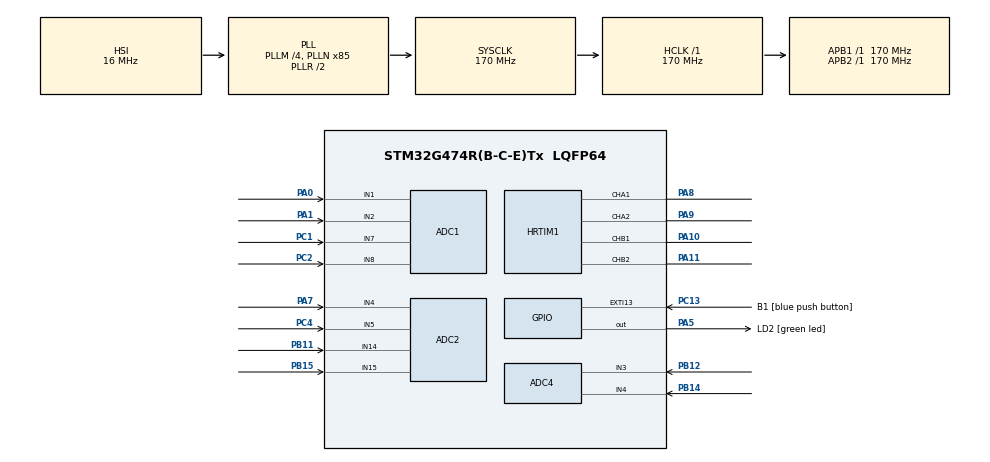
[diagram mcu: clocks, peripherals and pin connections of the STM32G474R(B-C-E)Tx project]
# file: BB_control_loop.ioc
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ADC1.Channel-0\#ChannelRegularConversion=ADC_CHANNEL_1
ADC1.Channel-1\#ChannelRegularConversion=ADC_CHANNEL_7
ADC1.ContinuousConvMode=DISABLE
ADC1.DMAContinuousRequests=ENABLE
ADC1.ExternalTrigConv=ADC_EXTERNALTRIG_HRTIM_TRG1
ADC1.NbrOfConversion=2
ADC1.NbrOfConversionFlag=1
ADC1.OffsetNumber-0\#ChannelRegularConversion=ADC_OFFSET_NONE
ADC1.OffsetNumber-1\#ChannelRegularConversion=ADC_OFFSET_NONE
ADC1.Rank-0\#ChannelRegularConversion=1
ADC1.Rank-1\#ChannelRegularConversion=2
ADC1.SamplingTime-0\#ChannelRegularConversion=ADC_SAMPLETIME_2CYCLES_5
ADC1.SamplingTime-1\#ChannelRegularConversion=ADC_SAMPLETIME_2CYCLES_5
ADC1.SingleDiff-0\#ChannelRegularConversion=ADC_DIFFERENTIAL_ENDED
ADC1.SingleDiff-1\#ChannelRegularConversion=ADC_DIFFERENTIAL_ENDED
ADC1.master=1
ADC2.Channel-5\#ChannelRegularConversion=ADC_CHANNEL_4
ADC2.Channel-6\#ChannelRegularConversion=ADC_CHANNEL_14
ADC2.ContinuousConvMode=ENABLE
ADC2.DMAContinuousRequests=ENABLE
ADC2.ExternalTrigConv=ADC_EXTERNALTRIG_HRTIM_TRG1
ADC2.NbrOfConversion=2
ADC2.NbrOfConversionFlag=1
ADC2.OffsetNumber-5\#ChannelRegularConversion=ADC_OFFSET_NONE
ADC2.OffsetNumber-6\#ChannelRegularConversion=ADC_OFFSET_NONE
ADC2.Rank-5\#ChannelRegularConversion=1
ADC2.Rank-6\#ChannelRegularConversion=2
ADC2.SamplingTime-5\#ChannelRegularConversion=ADC_SAMPLETIME_2CYCLES_5
ADC2.SamplingTime-6\#ChannelRegularConversion=ADC_SAMPLETIME_2CYCLES_5
ADC2.SingleDiff-5\#ChannelRegularConversion=ADC_DIFFERENTIAL_ENDED
ADC2.SingleDiff-6\#ChannelRegularConversion=ADC_DIFFERENTIAL_ENDED
ADC4.Channel-3\#ChannelRegularConversion=ADC_CHANNEL_3
ADC4.ContinuousConvMode=ENABLE
ADC4.DMAContinuousRequests=ENABLE
ADC4.ExternalTrigConv=ADC_EXTERNALTRIG_HRTIM_TRG1
ADC4.NbrOfConversionFlag=1
ADC4.OffsetNumber-3\#ChannelRegularConversion=ADC_OFFSET_NONE
ADC4.Rank-3\#ChannelRegularConversion=1
ADC4.SamplingTime-3\#ChannelRegularConversion=ADC_SAMPLETIME_2CYCLES_5
ADC4.SingleDiff-3\#ChannelRegularConversion=ADC_DIFFERENTIAL_ENDED
Dma.ADC1.0.Direction=DMA_PERIPH_TO_MEMORY
Dma.ADC1.0.EventEnable=DISABLE
Dma.ADC1.0.Instance=DMA1_Channel1
Dma.ADC1.0.MemDataAlignment=DMA_MDATAALIGN_HALFWORD
Dma.ADC1.0.MemInc=DMA_MINC_ENABLE
Dma.ADC1.0.Mode=DMA_NORMAL
Dma.ADC1.0.PeriphDataAlignment=DMA_PDATAALIGN_HALFWORD
Dma.ADC1.0.PeriphInc=DMA_PINC_DISABLE
Dma.ADC1.0.Polarity=HAL_DMAMUX_REQ_GEN_RISING
Dma.ADC1.0.Priority=DMA_PRIORITY_LOW
Dma.ADC1.0.RequestNumber=1
Dma.ADC1.0.SignalID=NONE
Dma.ADC1.0.SyncEnable=DISABLE
Dma.ADC1.0.SyncPolarity=HAL_DMAMUX_SYNC_NO_EVENT
Dma.ADC1.0.SyncRequestNumber=1
Dma.ADC1.0.SyncSignalID=NONE
Dma.ADC2.1.Direction=DMA_PERIPH_TO_MEMORY
Dma.ADC2.1.EventEnable=DISABLE
Dma.ADC2.1.Instance=DMA1_Channel2
Dma.ADC2.1.MemDataAlignment=DMA_MDATAALIGN_HALFWORD
Dma.ADC2.1.MemInc=DMA_MINC_ENABLE
Dma.ADC2.1.Mode=DMA_NORMAL
Dma.ADC2.1.PeriphDataAlignment=DMA_PDATAALIGN_HALFWORD
Dma.ADC2.1.PeriphInc=DMA_PINC_DISABLE
Dma.ADC2.1.Polarity=HAL_DMAMUX_REQ_GEN_RISING
Dma.ADC2.1.Priority=DMA_PRIORITY_LOW
Dma.ADC2.1.RequestNumber=1
Dma.ADC2.1.SignalID=NONE
Dma.ADC2.1.SyncEnable=DISABLE
Dma.ADC2.1.SyncPolarity=HAL_DMAMUX_SYNC_NO_EVENT
Dma.ADC2.1.SyncRequestNumber=1
Dma.ADC2.1.SyncSignalID=NONE
Dma.ADC4.2.Direction=DMA_PERIPH_TO_MEMORY
Dma.ADC4.2.EventEnable=DISABLE
Dma.ADC4.2.Instance=DMA1_Channel3
Dma.ADC4.2.MemDataAlignment=DMA_MDATAALIGN_HALFWORD
Dma.ADC4.2.MemInc=DMA_MINC_ENABLE
Dma.ADC4.2.Mode=DMA_NORMAL
Dma.ADC4.2.PeriphDataAlignment=DMA_PDATAALIGN_HALFWORD
Dma.ADC4.2.PeriphInc=DMA_PINC_DISABLE
Dma.ADC4.2.Polarity=HAL_DMAMUX_REQ_GEN_RISING
Dma.ADC4.2.Priority=DMA_PRIORITY_LOW
Dma.ADC4.2.RequestNumber=1
Dma.ADC4.2.SignalID=NONE
Dma.ADC4.2.SyncEnable=DISABLE
Dma.ADC4.2.SyncPolarity=HAL_DMAMUX_SYNC_NO_EVENT
Dma.ADC4.2.SyncRequestNumber=1
Dma.ADC4.2.SyncSignalID=NONE
Dma.Request0=ADC1
Dma.Request1=ADC2
Dma.Request2=ADC4
HRTIM1.ADCTrigger1_Source1=HRTIM_ADCTRIGGEREVENT13_TIMERA_CMP4
HRTIM1.ADCTrigger_Id1=HRTIM_ADCTRIGGER_1
HRTIM1.CaptureUnit1-Output_TB1TB2=__NULL
HRTIM1.CompareUnit1-Output_TA1TA2=HRTIM_COMPAREUNIT_1
HRTIM1.CompareUnit1-Output_TB1TB2=HRTIM_COMPAREUNIT_1
HRTIM1.CompareUnit2-Output_TA1TA2=__NULL
HRTIM1.CompareUnit4-Output_TA1TA2=HRTIM_COMPAREUNIT_4
HRTIM1.CompareValue1-Output_TA1TA2=0x6900
HRTIM1.CompareValue1-Output_TB1TB2=0x6900
HRTIM1.CompareValue4-Output_TA1TA2=0x6900
HRTIM1.DeadTimeInsertion-Output_TA1TA2=HRTIM_TIMDEADTIMEINSERTION_ENABLED
HRTIM1.DeadTimeInsertion-Output_TB1TB2=HRTIM_TIMDEADTIMEINSERTION_ENABLED
HRTIM1.FallingValue-Output_TA1TA2=0xb
HRTIM1.FallingValue-Output_TB1TB2=0xb
HRTIM1.Fault_Line1=__NULL
HRTIM1.HRTIMInterruptResquests1=HRTIM_IT_NONE
HRTIM1.NumberADCTriggerSource1=1
HRTIM1.NumberInterruptRequests-Output_TA1TA2=0
HRTIM1.NumberResetSource1-Output_TA1TA2=1
HRTIM1.NumberResetSource1-Output_TB1TB2=1
HRTIM1.NumberSetSource1-Output_TA1TA2=1
HRTIM1.NumberSetSource1-Output_TB1TB2=1
HRTIM1.Periode_TA=0xd480
HRTIM1.Periode_TB=0xd480
HRTIM1.PrescalerDead-Output_TA1TA2=HRTIM_TIMDEADTIME_PRESCALERRATIO_MUL8
HRTIM1.PrescalerRatio_TA=HRTIM_PRESCALERRATIO_MUL32
HRTIM1.ResetOutput1_Source1-Output_TA1TA2=HRTIM_OUTPUTRESET_TIMCMP1
HRTIM1.ResetOutput1_Source1-Output_TB1TB2=HRTIM_OUTPUTRESET_TIMCMP1
HRTIM1.RisingValue-Output_TA1TA2=0xb
HRTIM1.RisingValue-Output_TB1TB2=0xb
HRTIM1.SetOutput1_Source1-Output_TA1TA2=HRTIM_OUTPUTSET_TIMPER
HRTIM1.SetOutput1_Source1-Output_TB1TB2=HRTIM_OUTPUTSET_TIMPER
Mcu.Family=STM32G4
Mcu.Name=STM32G474R(B-C-E)Tx
Mcu.Package=LQFP64
NVIC.DMA1_Channel1_IRQn=true\:0\:0\:false\:false\:true\:false\:true\:true
NVIC.DMA1_Channel2_IRQn=true\:0\:0\:false\:false\:true\:false\:true\:true
NVIC.DMA1_Channel3_IRQn=true\:0\:0\:false\:false\:true\:false\:true\:true
NVIC.EXTI15_10_IRQn=true\:0\:0\:false\:false\:true\:true\:true\:true
NVIC.PriorityGroup=NVIC_PRIORITYGROUP_4
PA0.Mode=IN1-Differential
PA0.Signal=ADC1_IN1
PA1.Mode=IN1-Differential
PA1.Signal=ADC1_IN2
PA10.Mode=Output_TB1TB2
PA10.Signal=HRTIM1_CHB1
PA11.Mode=Output_TB1TB2
PA11.Signal=HRTIM1_CHB2
PA13.GPIO_Label=T_SWDIO
PA13.Signal=SYS_JTMS-SWDIO
PA14.GPIO_Label=T_SWCLK
PA14.Signal=SYS_JTCK-SWCLK
PA2.GPIO_Label=LPUART1_TX [STLINKV3E_VCP_RX]
PA2.Signal=LPUART1_TX
PA3.GPIO_Label=LPUART1_RX [STLINKV3E_VCP_TX]
PA3.Signal=LPUART1_RX
PA5.GPIO_Label=LD2 [green led]
PA5.Signal=GPIO_Output
PA7.Mode=IN4-Differential
PA7.Signal=ADC2_IN4
PA8.Mode=Output_TA1TA2
PA8.Signal=HRTIM1_CHA1
PA9.Mode=Output_TA1TA2
PA9.Signal=HRTIM1_CHA2
PB11.Mode=IN14-Differential
PB11.Signal=ADC2_IN14
PB12.Mode=IN3-Differential
PB12.Signal=ADC4_IN3
PB14.Mode=IN3-Differential
PB14.Signal=ADC4_IN4
PB15.Mode=IN14-Differential
PB15.Signal=ADC2_IN15
PB3.GPIO_Label=T_SWO
PB3.Signal=SYS_JTDO-SWO
PC1.Mode=IN7-Differential
PC1.Signal=ADC1_IN7
PC13.GPIO_Label=B1 [blue push button]
PC13.Signal=GPXTI13
PC14-OSC32_IN.Signal=RCC_OSC32_IN
PC15-OSC32_OUT.Signal=RCC_OSC32_OUT
PC2.Mode=IN7-Differential
PC2.Signal=ADC1_IN8
PC4.Mode=IN4-Differential
PC4.Signal=ADC2_IN5
PF0-OSC_IN.Signal=RCC_OSC_IN
PF1-OSC_OUT.Signal=RCC_OSC_OUT
ProjectManager.HeapSize=0x200
ProjectManager.StackSize=0x400
ProjectManager.TargetToolchain=STM32CubeIDE
RCC.ADC12Freq_Value=170000000
RCC.ADC345Freq_Value=170000000
RCC.AHBFreq_Value=170000000
RCC.APB1Freq_Value=170000000
RCC.APB1TimFreq_Value=170000000
RCC.APB2Freq_Value=170000000
RCC.APB2TimFreq_Value=170000000
RCC.CortexFreq_Value=170000000
RCC.EXTERNAL_CLOCK_VALUE=12288000
RCC.HCLKFreq_Value=170000000
RCC.HSE_VALUE=24000000
RCC.HSI48_VALUE=48000000
RCC.HSI_VALUE=16000000
RCC.LSE_VALUE=32768
RCC.PLLM=RCC_PLLM_DIV4
RCC.PLLN=85
RCC.RTCClockSelection=RCC_RTCCLKSOURCE_LSE
RCC.SYSCLKFreq_VALUE=170000000
RCC.SYSCLKSource=RCC_SYSCLKSOURCE_PLLCLK
RCC.USBFreq_Value=170000000
RCC.VCOOutputFreq_Value=340000000
VP_SYS_VS_DBSignals.Mode=DisableDeadBatterySignals
board=NUCLEO-G474RE

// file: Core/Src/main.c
/* USER CODE BEGIN Header */
/**
  ******************************************************************************
  * @file           : main.c
  * @brief          : Main program body
  ******************************************************************************
  * @attention
  *
  * Copyright (c) 2023 STMicroelectronics.
  * All rights reserved.
  *
  * This software is licensed under terms that can be found in the LICENSE file
  * in the root directory of this software component.
  * If no LICENSE file comes with this software, it is provided AS-IS.
  *
  ******************************************************************************
  */
/* USER CODE END Header */
#include "main.h"

/* USER CODE BEGIN Includes */
#include "PI.h"
/* USER CODE END Includes */

/* USER CODE BEGIN PTD */

/* HRTIM typedefs */
#define HRTIM_INPUT_CLOCK		((uint64_t)168000000)

#define _100kHz_PERIOD			((uint16_t)((HRTIM_INPUT_CLOCK * 32) / 100000))
#define _200kHz_PERIOD			((uint16_t)((HRTIM_INPUT_CLOCK * 32) / 200000))
#define _300kHz_PERIOD			((uint16_t)((HRTIM_INPUT_CLOCK * 32) / 300000))

#define _OPERATING_FREQ			_100kHz_PERIOD

#define VDDA					((uint16_t)3300)
#define DESIRED_VOLTAGE			((uint16_t)12000)

#define BUCK_THRSH				5000
#define MIXED_THRSH				((uint16_t)((DESIRED_VOLTAGE * 65 ) / 75))
#define BOOST_THRSH				((uint16_t)((DESIRED_VOLTAGE * 85 ) / 75))
#define OVERVOLTAGE				26000

/* USER CODE END PTD */

/* USER CODE BEGIN PD */
enum state
{
	BUCK = 1,
	BOOST = 2,
	BUCKBOOST = 3,
	DE_ENERGIZE = 4,
};
/* USER CODE END PD */

ADC_HandleTypeDef hadc1;
ADC_HandleTypeDef hadc2;
ADC_HandleTypeDef hadc4;
DMA_HandleTypeDef hdma_adc1;
DMA_HandleTypeDef hdma_adc2;
DMA_HandleTypeDef hdma_adc4;

HRTIM_HandleTypeDef hhrtim1;

void SystemClock_Config(void);
static void MX_GPIO_Init(void);
static void MX_DMA_Init(void);
static void MX_ADC1_Init(void);
static void MX_HRTIM1_Init(void);
static void MX_ADC2_Init(void);
static void MX_ADC4_Init(void);
/* USER CODE BEGIN PFP */
static void HRTIM_MultiplePWM(void);
/* USER CODE END PFP */

int main(void)
{
  /* USER CODE BEGIN 1 */

  // location for the adc conversion results
  volatile uint16_t adc1[2], adc2[2], adc4;

  // processed results
  uint16_t input_voltage, input_current,
  	  	   output_voltage, output_current,
		   choke_current;

  // PI controllers
  PIController PI_Outer_Buck, PI_Inner_Buck;
  PIController PI_Outer_Boost, PI_Inner_Boost;
  PIController PI_Outer_BB, PI_Inner_BB;

  // PI controller gains
  float BUCK_OUTER_KP = 0;
  float BUCK_OUTER_KI = 0;
  float BUCK_INNER_KP = 0;
  float BUCK_INNER_KI = 0;

  float BOOST_OUTER_KP = 0;
  float BOOST_OUTER_KI = 0;
  float BOOST_INNER_KP = 0;
  float BOOST_INNER_KI = 0;

  float BB_OUTER_KP = 0;
  float BB_OUTER_KI = 0;
  float BB_INNER_KP = 0;
  float BB_INNER_KI = 0;

  // enum for switch case
  enum state Converter_state;

  /* USER CODE END 1 */

  /* MCU Configuration--------------------------------------------------------*/

  /* Reset of all peripherals, Initializes the Flash interface and the Systick. */
  HAL_Init();

  /* Configure the system clock */
  SystemClock_Config();

  /* Initialize all configured peripherals */
  MX_GPIO_Init();
  MX_DMA_Init();
  MX_ADC1_Init();
  MX_HRTIM1_Init();
  MX_ADC2_Init();
  MX_ADC4_Init();
  /* USER CODE BEGIN 2 */

  // Mutiple PWM init
  HRTIM_MultiplePWM();

  //HRTIM start-up
  HAL_HRTIM_WaveformOutputStart(&hhrtim1, HRTIM_OUTPUT_TA1 | HRTIM_OUTPUT_TA2);
  HAL_HRTIM_WaveformOutputStart(&hhrtim1, HRTIM_OUTPUT_TB1 | HRTIM_OUTPUT_TB2);

  //Start counters
  HAL_HRTIM_WaveformCounterStart(&hhrtim1, HRTIM_TIMERID_TIMER_A);
  HAL_HRTIM_WaveformCounterStart(&hhrtim1, HRTIM_TIMERID_TIMER_B);

  // PI controllers init
  PIController_Init(PI_Outer_Buck, BUCK_OUTER_KP, BUCK_OUTER_KI);
  PIController_Init(PI_Inner_Buck, BUCK_INNER_KP, BUCK_INNER_KI);

  PIController_Init(PI_Outer_Boost, BOOST_OUTER_KP, BOOST_OUTER_KI);
  PIController_Init(PI_Inner_Boost, BOOST_INNER_KP, BOOST_INNER_KI);

  PIController_Init(PI_Outer_BB, BB_OUTER_KP, BB_OUTER_KI);
  PIController_Init(PI_Inner_BB, BB_INNER_KP, BB_INNER_KI);

  /* USER CODE END 2 */

  /* Infinite loop */
  while (1)
  {

    /* USER CODE BEGIN 3 */

	  // Input and output voltage, current measurements
	  HAL_ADC_Start_DMA(&hadc1, (uint32_t*)adc1, 2);
	  HAL_ADC_Start_DMA(&hadc2, (uint32_t*)adc2, 2);
	  HAL_ADC_Start_DMA(&hadc4, (uint16_t*)adc4, 1);

	  // Voltage bridge conversion is 120.05  	(16.5k / 1M + 1M + 16.5k), values in mV
	  // Shunt current conversion is 30.49		(1/800u * 41), values in mA

	  adc1[0] = adc1[0] * VDDA / 0xFFF;
	  adc1[1] = adc1[1] * VDDA / 0xFFF;
	  adc2[0] = adc2[0] * VDDA / 0xFFF;
	  adc2[1] = adc2[1] * VDDA / 0xFFF;
	  adc4    = adc4    * VDDA / 0xFFF;

	  input_voltage = (12005 * adc1[0]) / 100;
	  input_current = (3049 * adc1[1]) / 100;
	  output_voltage = (12005 * adc2[1]) / 100;
	  output_current = (3049 * adc2[0]) / 100;
	  choke_current = adc4;

	  if((input_voltage > BUCK_THRSH) && (input_voltage < MIXED_THRSH))  	  Converter_state = BUCK;
	  else if((input_voltage > MIXED_THRSH) && (input_voltage < BOOST_THRSH)) Converter_state = BUCKBOOST;
	  else if((input_voltage > BOOST_THRSH) && (input_voltage < OVERVOLTAGE)) Converter_state = BOOST;
	  else if(input_voltage > OVERVOLTAGE) 									  Converter_state = DE_ENERGIZE;

	  switch(Converter_state)
	  {

	  float pi_outer, pi_inner;
	  uint32_t newDC;
	  HRTIM_CompareCfgTypeDef compare_config;

	  case BUCK: // TIMER A - ON, TIMER B - OFF

		  // Set Duty Cycle as 0, TIMER B = 0 (Q3 open), ~B (Q4 shorted)
		  compare_config.CompareValue = 0;
		  HAL_HRTIM_WaveformCompareConfig(&hhrtim1, HRTIM_TIMERID_TIMER_B, HRTIM_COMPAREUNIT_1, &compare_config);

		  // calculate outer and inner PI controllers responses
		  pi_outer = PIController_Update(&PI_Outer_Buck, DESIRED_VOLTAGE, output_voltage);
		  pi_inner = PIController_Update(&PI_Inner_Buck, pi_outer, output_current);

		  // update duty cycle
		  newDC = (HRTIM_INPUT_CLOCK / _OPERATING_FREQ) * pi_inner;
		  compare_config.CompareValue = newDC;
		  HAL_HRTIM_WaveformCompareConfig(&hhrtim1, HRTIM_TIMERID_TIMER_A, HRTIM_COMPAREUNIT_1, &compare_config);

		  break;

	  case BOOST: // TIMER A - OFF, TIMER B - ON

		  // Set Duty Cycle as 1, TIMER A = 1 (Q1 shorted), ~A (Q2 open)
		  compare_config.CompareValue = 0xffff;
		  HAL_HRTIM_WaveformCompareConfig(&hhrtim1, HRTIM_TIMERID_TIMER_A, HRTIM_COMPAREUNIT_1, &compare_config);

		  // calculate outer and inner PI controllers responses
		  pi_outer = PIController_Update(&PI_Outer_Boost, DESIRED_VOLTAGE, output_voltage);
		  pi_inner = PIController_Update(&PI_Inner_Boost, pi_outer, output_current);

		  // update duty cycle
		  newDC = (HRTIM_INPUT_CLOCK / _OPERATING_FREQ) * pi_inner;
		  compare_config.CompareValue = newDC;
		  HAL_HRTIM_WaveformCompareConfig(&hhrtim1, HRTIM_TIMERID_TIMER_B, HRTIM_COMPAREUNIT_1, &compare_config);

		  break;

	  case BUCKBOOST: // TIMER A - ON (fixed duty cycle) , TIMER B - ON

		  // Set Duty Cycle as 0.75
		  compare_config.CompareValue = (HRTIM_INPUT_CLOCK / _OPERATING_FREQ) * 3 / 4;
		  HAL_HRTIM_WaveformCompareConfig(&hhrtim1, HRTIM_TIMERID_TIMER_A, HRTIM_COMPAREUNIT_1, &compare_config);

		  // calculate outer and inner PI controllers responses
		  pi_outer = PIController_Update(&PI_Outer_BB, DESIRED_VOLTAGE, output_voltage);
		  pi_inner = PIController_Update(&PI_Inner_BB, pi_outer, output_current);

		  // update duty cycle
		  newDC = (HRTIM_INPUT_CLOCK / _OPERATING_FREQ) * pi_inner;
		  compare_config.CompareValue = newDC;
		  HAL_HRTIM_WaveformCompareConfig(&hhrtim1, HRTIM_TIMERID_TIMER_B, HRTIM_COMPAREUNIT_1, &compare_config);
		  break;

	  case DE_ENERGIZE: // TIMER A - OFF (Q1 open, Q2 shorted), TIMER B - OFF (Q3 shorted, Q4 open)

		  // Set Duty Cycle as 0, TIMER A
		  compare_config.CompareValue = 0;
 		  HAL_HRTIM_WaveformCompareConfig(&hhrtim1, HRTIM_TIMERID_TIMER_A, HRTIM_COMPAREUNIT_1, &compare_config);

 		 // Set Duty Cycle as 1, TIMER B
 		 compare_config.CompareValue = 1;
 		 HAL_HRTIM_WaveformCompareConfig(&hhrtim1, HRTIM_TIMERID_TIMER_B, HRTIM_COMPAREUNIT_1, &compare_config);

		  break;

	  default:

		  break;

	  }
  }
  /* USER CODE END 3 */
}

void SystemClock_Config(void)
{
  RCC_OscInitTypeDef RCC_OscInitStruct = {0};
  RCC_ClkInitTypeDef RCC_ClkInitStruct = {0};

  /** Configure the main internal regulator output voltage
  */
  HAL_PWREx_ControlVoltageScaling(PWR_REGULATOR_VOLTAGE_SCALE1_BOOST);

  /** Initializes the RCC Oscillators according to the specified parameters
  * in the RCC_OscInitTypeDef structure.
  */
  RCC_OscInitStruct.OscillatorType = RCC_OSCILLATORTYPE_HSI;
  RCC_OscInitStruct.HSIState = RCC_HSI_ON;
  RCC_OscInitStruct.HSICalibrationValue = RCC_HSICALIBRATION_DEFAULT;
  RCC_OscInitStruct.PLL.PLLState = RCC_PLL_ON;
  RCC_OscInitStruct.PLL.PLLSource = RCC_PLLSOURCE_HSI;
  RCC_OscInitStruct.PLL.PLLM = RCC_PLLM_DIV4;
  RCC_OscInitStruct.PLL.PLLN = 85;
  RCC_OscInitStruct.PLL.PLLP = RCC_PLLP_DIV2;
  RCC_OscInitStruct.PLL.PLLQ = RCC_PLLQ_DIV2;
  RCC_OscInitStruct.PLL.PLLR = RCC_PLLR_DIV2;
  if (HAL_RCC_OscConfig(&RCC_OscInitStruct) != HAL_OK)
  {
    Error_Handler();
  }

  /** Initializes the CPU, AHB and APB buses clocks
  */
  RCC_ClkInitStruct.ClockType = RCC_CLOCKTYPE_HCLK|RCC_CLOCKTYPE_SYSCLK
                              |RCC_CLOCKTYPE_PCLK1|RCC_CLOCKTYPE_PCLK2;
  RCC_ClkInitStruct.SYSCLKSource = RCC_SYSCLKSOURCE_PLLCLK;
  RCC_ClkInitStruct.AHBCLKDivider = RCC_SYSCLK_DIV1;
  RCC_ClkInitStruct.APB1CLKDivider = RCC_HCLK_DIV1;
  RCC_ClkInitStruct.APB2CLKDivider = RCC_HCLK_DIV1;

  if (HAL_RCC_ClockConfig(&RCC_ClkInitStruct, FLASH_LATENCY_4) != HAL_OK)
  {
    Error_Handler();
  }
}

static void MX_ADC1_Init(void)
{

  ADC_MultiModeTypeDef multimode = {0};
  ADC_ChannelConfTypeDef sConfig = {0};

  /** Common config
  */
  hadc1.Instance = ADC1;
  hadc1.Init.ClockPrescaler = ADC_CLOCK_SYNC_PCLK_DIV4;
  hadc1.Init.Resolution = ADC_RESOLUTION_12B;
  hadc1.Init.DataAlign = ADC_DATAALIGN_RIGHT;
  hadc1.Init.GainCompensation = 0;
  hadc1.Init.ScanConvMode = ADC_SCAN_ENABLE;
  hadc1.Init.EOCSelection = ADC_EOC_SINGLE_CONV;
  hadc1.Init.LowPowerAutoWait = DISABLE;
  hadc1.Init.ContinuousConvMode = DISABLE;
  hadc1.Init.NbrOfConversion = 2;
  hadc1.Init.DiscontinuousConvMode = DISABLE;
  hadc1.Init.ExternalTrigConv = ADC_EXTERNALTRIG_HRTIM_TRG1;
  hadc1.Init.ExternalTrigConvEdge = ADC_EXTERNALTRIGCONVEDGE_RISING;
  hadc1.Init.DMAContinuousRequests = ENABLE;
  hadc1.Init.Overrun = ADC_OVR_DATA_PRESERVED;
  hadc1.Init.OversamplingMode = DISABLE;
  if (HAL_ADC_Init(&hadc1) != HAL_OK)
  {
    Error_Handler();
  }

  /** Configure the ADC multi-mode
  */
  multimode.Mode = ADC_MODE_INDEPENDENT;
  if (HAL_ADCEx_MultiModeConfigChannel(&hadc1, &multimode) != HAL_OK)
  {
    Error_Handler();
  }

  /** Configure Regular Channel
  */
  sConfig.Channel = ADC_CHANNEL_1;
  sConfig.Rank = ADC_REGULAR_RANK_1;
  sConfig.SamplingTime = ADC_SAMPLETIME_2CYCLES_5;
  sConfig.SingleDiff = ADC_DIFFERENTIAL_ENDED;
  sConfig.OffsetNumber = ADC_OFFSET_NONE;
  sConfig.Offset = 0;
  if (HAL_ADC_ConfigChannel(&hadc1, &sConfig) != HAL_OK)
  {
    Error_Handler();
  }

  /** Configure Regular Channel
  */
  sConfig.Channel = ADC_CHANNEL_7;
  sConfig.Rank = ADC_REGULAR_RANK_2;
  if (HAL_ADC_ConfigChannel(&hadc1, &sConfig) != HAL_OK)
  {
    Error_Handler();
  }

}

static void MX_ADC2_Init(void)
{

  ADC_ChannelConfTypeDef sConfig = {0};

  /** Common config
  */
  hadc2.Instance = ADC2;
  hadc2.Init.ClockPrescaler = ADC_CLOCK_SYNC_PCLK_DIV4;
  hadc2.Init.Resolution = ADC_RESOLUTION_12B;
  hadc2.Init.DataAlign = ADC_DATAALIGN_RIGHT;
  hadc2.Init.GainCompensation = 0;
  hadc2.Init.ScanConvMode = ADC_SCAN_ENABLE;
  hadc2.Init.EOCSelection = ADC_EOC_SINGLE_CONV;
  hadc2.Init.LowPowerAutoWait = DISABLE;
  hadc2.Init.ContinuousConvMode = ENABLE;
  hadc2.Init.NbrOfConversion = 2;
  hadc2.Init.DiscontinuousConvMode = DISABLE;
  hadc2.Init.ExternalTrigConv = ADC_EXTERNALTRIG_HRTIM_TRG1;
  hadc2.Init.ExternalTrigConvEdge = ADC_EXTERNALTRIGCONVEDGE_RISING;
  hadc2.Init.DMAContinuousRequests = ENABLE;
  hadc2.Init.Overrun = ADC_OVR_DATA_PRESERVED;
  hadc2.Init.OversamplingMode = DISABLE;
  if (HAL_ADC_Init(&hadc2) != HAL_OK)
  {
    Error_Handler();
  }

  /** Configure Regular Channel
  */
  sConfig.Channel = ADC_CHANNEL_4;
  sConfig.Rank = ADC_REGULAR_RANK_1;
  sConfig.SamplingTime = ADC_SAMPLETIME_2CYCLES_5;
  sConfig.SingleDiff = ADC_DIFFERENTIAL_ENDED;
  sConfig.OffsetNumber = ADC_OFFSET_NONE;
  sConfig.Offset = 0;
  if (HAL_ADC_ConfigChannel(&hadc2, &sConfig) != HAL_OK)
  {
    Error_Handler();
  }

  /** Configure Regular Channel
  */
  sConfig.Channel = ADC_CHANNEL_14;
  sConfig.Rank = ADC_REGULAR_RANK_2;
  if (HAL_ADC_ConfigChannel(&hadc2, &sConfig) != HAL_OK)
  {
    Error_Handler();
  }

}

static void MX_ADC4_Init(void)
{

  ADC_ChannelConfTypeDef sConfig = {0};

  /** Common config
  */
  hadc4.Instance = ADC4;
  hadc4.Init.ClockPrescaler = ADC_CLOCK_SYNC_PCLK_DIV4;
  hadc4.Init.Resolution = ADC_RESOLUTION_12B;
  hadc4.Init.DataAlign = ADC_DATAALIGN_RIGHT;
  hadc4.Init.GainCompensation = 0;
  hadc4.Init.ScanConvMode = ADC_SCAN_DISABLE;
  hadc4.Init.EOCSelection = ADC_EOC_SINGLE_CONV;
  hadc4.Init.LowPowerAutoWait = DISABLE;
  hadc4.Init.ContinuousConvMode = ENABLE;
  hadc4.Init.NbrOfConversion = 1;
  hadc4.Init.DiscontinuousConvMode = DISABLE;
  hadc4.Init.ExternalTrigConv = ADC_EXTERNALTRIG_HRTIM_TRG1;
  hadc4.Init.ExternalTrigConvEdge = ADC_EXTERNALTRIGCONVEDGE_RISING;
  hadc4.Init.DMAContinuousRequests = ENABLE;
  hadc4.Init.Overrun = ADC_OVR_DATA_PRESERVED;
  hadc4.Init.OversamplingMode = DISABLE;
  if (HAL_ADC_Init(&hadc4) != HAL_OK)
  {
    Error_Handler();
  }

  /** Configure Regular Channel
  */
  sConfig.Channel = ADC_CHANNEL_3;
  sConfig.Rank = ADC_REGULAR_RANK_1;
  sConfig.SamplingTime = ADC_SAMPLETIME_2CYCLES_5;
  sConfig.SingleDiff = ADC_DIFFERENTIAL_ENDED;
  sConfig.OffsetNumber = ADC_OFFSET_NONE;
  sConfig.Offset = 0;
  if (HAL_ADC_ConfigChannel(&hadc4, &sConfig) != HAL_OK)
  {
    Error_Handler();
  }

}

static void MX_HRTIM1_Init(void)
{

  HRTIM_ADCTriggerCfgTypeDef pADCTriggerCfg = {0};
  HRTIM_TimeBaseCfgTypeDef pTimeBaseCfg = {0};
  HRTIM_TimerCtlTypeDef pTimerCtl = {0};
  HRTIM_TimerCfgTypeDef pTimerCfg = {0};
  HRTIM_CompareCfgTypeDef pCompareCfg = {0};
  HRTIM_DeadTimeCfgTypeDef pDeadTimeCfg = {0};
  HRTIM_OutputCfgTypeDef pOutputCfg = {0};

  hhrtim1.Instance = HRTIM1;
  hhrtim1.Init.HRTIMInterruptResquests = HRTIM_IT_NONE;
  hhrtim1.Init.SyncOptions = HRTIM_SYNCOPTION_NONE;
  if (HAL_HRTIM_Init(&hhrtim1) != HAL_OK)
  {
    Error_Handler();
  }
  if (HAL_HRTIM_DLLCalibrationStart(&hhrtim1, HRTIM_CALIBRATIONRATE_3) != HAL_OK)
  {
    Error_Handler();
  }
  if (HAL_HRTIM_PollForDLLCalibration(&hhrtim1, 10) != HAL_OK)
  {
    Error_Handler();
  }
  pADCTriggerCfg.UpdateSource = HRTIM_ADCTRIGGERUPDATE_TIMER_A;
  pADCTriggerCfg.Trigger = HRTIM_ADCTRIGGEREVENT13_TIMERA_CMP4;
  if (HAL_HRTIM_ADCTriggerConfig(&hhrtim1, HRTIM_ADCTRIGGER_1, &pADCTriggerCfg) != HAL_OK)
  {
    Error_Handler();
  }
  if (HAL_HRTIM_ADCPostScalerConfig(&hhrtim1, HRTIM_ADCTRIGGER_1, 0x0) != HAL_OK)
  {
    Error_Handler();
  }
  pTimeBaseCfg.Period = 0xd480;
  pTimeBaseCfg.RepetitionCounter = 0x00;
  pTimeBaseCfg.PrescalerRatio = HRTIM_PRESCALERRATIO_MUL32;
  pTimeBaseCfg.Mode = HRTIM_MODE_CONTINUOUS;
  if (HAL_HRTIM_TimeBaseConfig(&hhrtim1, HRTIM_TIMERINDEX_TIMER_A, &pTimeBaseCfg) != HAL_OK)
  {
    Error_Handler();
  }
  pTimerCtl.UpDownMode = HRTIM_TIMERUPDOWNMODE_UP;
  pTimerCtl.GreaterCMP1 = HRTIM_TIMERGTCMP1_EQUAL;
  pTimerCtl.DualChannelDacEnable = HRTIM_TIMER_DCDE_DISABLED;
  if (HAL_HRTIM_WaveformTimerControl(&hhrtim1, HRTIM_TIMERINDEX_TIMER_A, &pTimerCtl) != HAL_OK)
  {
    Error_Handler();
  }
  pTimerCfg.InterruptRequests = HRTIM_TIM_IT_NONE;
  pTimerCfg.DMARequests = HRTIM_TIM_DMA_NONE;
  pTimerCfg.DMASrcAddress = 0x0000;
  pTimerCfg.DMADstAddress = 0x0000;
  pTimerCfg.DMASize = 0x1;
  pTimerCfg.HalfModeEnable = HRTIM_HALFMODE_DISABLED;
  pTimerCfg.InterleavedMode = HRTIM_INTERLEAVED_MODE_DISABLED;
  pTimerCfg.StartOnSync = HRTIM_SYNCSTART_DISABLED;
  pTimerCfg.ResetOnSync = HRTIM_SYNCRESET_DISABLED;
  pTimerCfg.DACSynchro = HRTIM_DACSYNC_NONE;
  pTimerCfg.PreloadEnable = HRTIM_PRELOAD_DISABLED;
  pTimerCfg.UpdateGating = HRTIM_UPDATEGATING_INDEPENDENT;
  pTimerCfg.BurstMode = HRTIM_TIMERBURSTMODE_MAINTAINCLOCK;
  pTimerCfg.RepetitionUpdate = HRTIM_UPDATEONREPETITION_DISABLED;
  pTimerCfg.PushPull = HRTIM_TIMPUSHPULLMODE_DISABLED;
  pTimerCfg.FaultEnable = HRTIM_TIMFAULTENABLE_NONE;
  pTimerCfg.FaultLock = HRTIM_TIMFAULTLOCK_READWRITE;
  pTimerCfg.DeadTimeInsertion = HRTIM_TIMDEADTIMEINSERTION_ENABLED;
  pTimerCfg.DelayedProtectionMode = HRTIM_TIMER_A_B_C_DELAYEDPROTECTION_DISABLED;
  pTimerCfg.UpdateTrigger = HRTIM_TIMUPDATETRIGGER_NONE;
  pTimerCfg.ResetTrigger = HRTIM_TIMRESETTRIGGER_NONE;
  pTimerCfg.ResetUpdate = HRTIM_TIMUPDATEONRESET_DISABLED;
  pTimerCfg.ReSyncUpdate = HRTIM_TIMERESYNC_UPDATE_UNCONDITIONAL;
  if (HAL_HRTIM_WaveformTimerConfig(&hhrtim1, HRTIM_TIMERINDEX_TIMER_A, &pTimerCfg) != HAL_OK)
  {
    Error_Handler();
  }
  if (HAL_HRTIM_WaveformTimerConfig(&hhrtim1, HRTIM_TIMERINDEX_TIMER_B, &pTimerCfg) != HAL_OK)
  {
    Error_Handler();
  }
  pCompareCfg.CompareValue = 0x6900;
  if (HAL_HRTIM_WaveformCompareConfig(&hhrtim1, HRTIM_TIMERINDEX_TIMER_A, HRTIM_COMPAREUNIT_1, &pCompareCfg) != HAL_OK)
  {
    Error_Handler();
  }
  pCompareCfg.AutoDelayedMode = HRTIM_AUTODELAYEDMODE_REGULAR;
  pCompareCfg.AutoDelayedTimeout = 0x0000;

  if (HAL_HRTIM_WaveformCompareConfig(&hhrtim1, HRTIM_TIMERINDEX_TIMER_A, HRTIM_COMPAREUNIT_4, &pCompareCfg) != HAL_OK)
  {
    Error_Handler();
  }
  pDeadTimeCfg.Prescaler = HRTIM_TIMDEADTIME_PRESCALERRATIO_MUL8;
  pDeadTimeCfg.RisingValue = 0xb;
  pDeadTimeCfg.RisingSign = HRTIM_TIMDEADTIME_RISINGSIGN_POSITIVE;
  pDeadTimeCfg.RisingLock = HRTIM_TIMDEADTIME_RISINGLOCK_WRITE;
  pDeadTimeCfg.RisingSignLock = HRTIM_TIMDEADTIME_RISINGSIGNLOCK_WRITE;
  pDeadTimeCfg.FallingValue = 0xb;
  pDeadTimeCfg.FallingSign = HRTIM_TIMDEADTIME_FALLINGSIGN_POSITIVE;
  pDeadTimeCfg.FallingLock = HRTIM_TIMDEADTIME_FALLINGLOCK_WRITE;
  pDeadTimeCfg.FallingSignLock = HRTIM_TIMDEADTIME_FALLINGSIGNLOCK_WRITE;
  if (HAL_HRTIM_DeadTimeConfig(&hhrtim1, HRTIM_TIMERINDEX_TIMER_A, &pDeadTimeCfg) != HAL_OK)
  {
    Error_Handler();
  }
  if (HAL_HRTIM_DeadTimeConfig(&hhrtim1, HRTIM_TIMERINDEX_TIMER_B, &pDeadTimeCfg) != HAL_OK)
  {
    Error_Handler();
  }
  pOutputCfg.Polarity = HRTIM_OUTPUTPOLARITY_HIGH;
  pOutputCfg.SetSource = HRTIM_OUTPUTSET_TIMPER;
  pOutputCfg.ResetSource = HRTIM_OUTPUTRESET_TIMCMP1;
  pOutputCfg.IdleMode = HRTIM_OUTPUTIDLEMODE_NONE;
  pOutputCfg.IdleLevel = HRTIM_OUTPUTIDLELEVEL_INACTIVE;
  pOutputCfg.FaultLevel = HRTIM_OUTPUTFAULTLEVEL_NONE;
  pOutputCfg.ChopperModeEnable = HRTIM_OUTPUTCHOPPERMODE_DISABLED;
  pOutputCfg.BurstModeEntryDelayed = HRTIM_OUTPUTBURSTMODEENTRY_REGULAR;
  if (HAL_HRTIM_WaveformOutputConfig(&hhrtim1, HRTIM_TIMERINDEX_TIMER_A, HRTIM_OUTPUT_TA1, &pOutputCfg) != HAL_OK)
  {
    Error_Handler();
  }
  if (HAL_HRTIM_WaveformOutputConfig(&hhrtim1, HRTIM_TIMERINDEX_TIMER_B, HRTIM_OUTPUT_TB1, &pOutputCfg) != HAL_OK)
  {
    Error_Handler();
  }
  pOutputCfg.SetSource = HRTIM_OUTPUTSET_NONE;
  pOutputCfg.ResetSource = HRTIM_OUTPUTRESET_NONE;
  if (HAL_HRTIM_WaveformOutputConfig(&hhrtim1, HRTIM_TIMERINDEX_TIMER_A, HRTIM_OUTPUT_TA2, &pOutputCfg) != HAL_OK)
  {
    Error_Handler();
  }
  if (HAL_HRTIM_WaveformOutputConfig(&hhrtim1, HRTIM_TIMERINDEX_TIMER_B, HRTIM_OUTPUT_TB2, &pOutputCfg) != HAL_OK)
  {
    Error_Handler();
  }
  if (HAL_HRTIM_TimeBaseConfig(&hhrtim1, HRTIM_TIMERINDEX_TIMER_B, &pTimeBaseCfg) != HAL_OK)
  {
    Error_Handler();
  }
  if (HAL_HRTIM_WaveformTimerControl(&hhrtim1, HRTIM_TIMERINDEX_TIMER_B, &pTimerCtl) != HAL_OK)
  {
    Error_Handler();
  }
  if (HAL_HRTIM_WaveformCompareConfig(&hhrtim1, HRTIM_TIMERINDEX_TIMER_B, HRTIM_COMPAREUNIT_1, &pCompareCfg) != HAL_OK)
  {
    Error_Handler();
  }
  HAL_HRTIM_MspPostInit(&hhrtim1);

}

static void MX_DMA_Init(void)
{

  /* DMA controller clock enable */
  __HAL_RCC_DMAMUX1_CLK_ENABLE();
  __HAL_RCC_DMA1_CLK_ENABLE();

  /* DMA interrupt init */
  /* DMA1_Channel1_IRQn interrupt configuration */
  HAL_NVIC_SetPriority(DMA1_Channel1_IRQn, 0, 0);
  HAL_NVIC_EnableIRQ(DMA1_Channel1_IRQn);
  /* DMA1_Channel2_IRQn interrupt configuration */
  HAL_NVIC_SetPriority(DMA1_Channel2_IRQn, 0, 0);
  HAL_NVIC_EnableIRQ(DMA1_Channel2_IRQn);
  /* DMA1_Channel3_IRQn interrupt configuration */
  HAL_NVIC_SetPriority(DMA1_Channel3_IRQn, 0, 0);
  HAL_NVIC_EnableIRQ(DMA1_Channel3_IRQn);

}

static void MX_GPIO_Init(void)
{
  GPIO_InitTypeDef GPIO_InitStruct = {0};

  /* GPIO Ports Clock Enable */
  __HAL_RCC_GPIOC_CLK_ENABLE();
  __HAL_RCC_GPIOF_CLK_ENABLE();
  __HAL_RCC_GPIOA_CLK_ENABLE();
  __HAL_RCC_GPIOB_CLK_ENABLE();

  /*Configure GPIO pin Output Level */
  HAL_GPIO_WritePin(LD2_GPIO_Port, LD2_Pin, GPIO_PIN_RESET);

  /*Configure GPIO pin : B1_Pin */
  GPIO_InitStruct.Pin = B1_Pin;
  GPIO_InitStruct.Mode = GPIO_MODE_IT_RISING;
  GPIO_InitStruct.Pull = GPIO_NOPULL;
  HAL_GPIO_Init(B1_GPIO_Port, &GPIO_InitStruct);

  /*Configure GPIO pins : LPUART1_TX_Pin LPUART1_RX_Pin */
  GPIO_InitStruct.Pin = LPUART1_TX_Pin|LPUART1_RX_Pin;
  GPIO_InitStruct.Mode = GPIO_MODE_AF_PP;
  GPIO_InitStruct.Pull = GPIO_NOPULL;
  GPIO_InitStruct.Speed = GPIO_SPEED_FREQ_LOW;
  GPIO_InitStruct.Alternate = GPIO_AF12_LPUART1;
  HAL_GPIO_Init(GPIOA, &GPIO_InitStruct);

  /*Configure GPIO pin : LD2_Pin */
  GPIO_InitStruct.Pin = LD2_Pin;
  GPIO_InitStruct.Mode = GPIO_MODE_OUTPUT_PP;
  GPIO_InitStruct.Pull = GPIO_NOPULL;
  GPIO_InitStruct.Speed = GPIO_SPEED_FREQ_LOW;
  HAL_GPIO_Init(LD2_GPIO_Port, &GPIO_InitStruct);

  /* EXTI interrupt init*/
  HAL_NVIC_SetPriority(EXTI15_10_IRQn, 0, 0);
  HAL_NVIC_EnableIRQ(EXTI15_10_IRQn);

}

/* USER CODE BEGIN 4 */

static void HRTIM_MultiplePWM(void)
{
	HRTIM_TimeBaseCfgTypeDef timebase_config;
	HRTIM_TimerCfgTypeDef timer_config;
	HRTIM_OutputCfgTypeDef output_config_TAx;
	HRTIM_OutputCfgTypeDef output_config_TBx;
	HRTIM_CompareCfgTypeDef compare_config;
	HRTIM_DeadTimeCfgTypeDef deadtime_config;

	/* HRTIM Global init */
	hhrtim1.Instance = HRTIM1;
	hhrtim1.Init.HRTIMInterruptResquests = HRTIM_IT_NONE;
	hhrtim1.Init.SyncOptions = HRTIM_SYNCOPTION_NONE;

	// HR Timer init
	HAL_HRTIM_Init(&hhrtim1);
	// DLL calibration, set period to 14us
	HAL_HRTIM_DLLCalibrationStart(&hhrtim1, HRTIM_CALIBRATIONRATE_1);
	// Wait calibration completion
	if (HAL_HRTIM_PollForDLLCalibration(&hhrtim1, 100) != HAL_OK)
	{
		Error_Handler(); /* if DLL or clock is not correctly set */
	}

	/* TIMERA init, TIMERA config */
	timebase_config.Period = _OPERATING_FREQ;
	timebase_config.RepetitionCounter = 0;
	timebase_config.PrescalerRatio = HRTIM_PRESCALERRATIO_MUL32;
	timebase_config.Mode = HRTIM_MODE_CONTINUOUS;
	HAL_HRTIM_TimeBaseConfig(&hhrtim1, HRTIM_TIMERINDEX_TIMER_A, &timebase_config);

	timer_config.DMARequests = HRTIM_TIM_DMA_NONE;
	timer_config.HalfModeEnable = HRTIM_HALFMODE_DISABLED;
	timer_config.StartOnSync = HRTIM_SYNCSTART_DISABLED;
	timer_config.ResetOnSync = HRTIM_SYNCRESET_DISABLED;
	timer_config.DACSynchro = HRTIM_DACSYNC_NONE;
	timer_config.PreloadEnable = HRTIM_PRELOAD_ENABLED;
	timer_config.UpdateGating = HRTIM_UPDATEGATING_INDEPENDENT;
	timer_config.BurstMode = HRTIM_TIMERBURSTMODE_MAINTAINCLOCK;
	timer_config.RepetitionUpdate = HRTIM_UPDATEONREPETITION_ENABLED;
	timer_config.ResetUpdate = HRTIM_TIMUPDATEONRESET_DISABLED;
	timer_config.InterruptRequests = HRTIM_TIM_IT_NONE;
	timer_config.PushPull = HRTIM_TIMPUSHPULLMODE_DISABLED;
	timer_config.FaultEnable = HRTIM_TIMFAULTENABLE_NONE;
	timer_config.FaultLock = HRTIM_TIMFAULTLOCK_READWRITE;
	timer_config.DeadTimeInsertion = HRTIM_TIMDEADTIMEINSERTION_DISABLED;
	timer_config.DelayedProtectionMode = HRTIM_TIMER_A_B_C_DELAYEDPROTECTION_DISABLED;
	timer_config.UpdateTrigger= HRTIM_TIMUPDATETRIGGER_NONE;
	timer_config.ResetTrigger = HRTIM_TIMRESETTRIGGER_NONE;
	HAL_HRTIM_WaveformTimerConfig(&hhrtim1, HRTIM_TIMERINDEX_TIMER_A,&timer_config);

	deadtime_config.Prescaler = HRTIM_TIMDEADTIME_PRESCALERRATIO_MUL8;
	deadtime_config.RisingValue = 0x000;
	deadtime_config.RisingSign = HRTIM_TIMDEADTIME_RISINGSIGN_POSITIVE;
	deadtime_config.RisingLock = HRTIM_TIMDEADTIME_RISINGLOCK_WRITE;
	deadtime_config.RisingSignLock = HRTIM_TIMDEADTIME_RISINGSIGNLOCK_WRITE;
	deadtime_config.FallingValue = 0x000;
	deadtime_config.FallingSign = HRTIM_TIMDEADTIME_FALLINGSIGN_POSITIVE;
	deadtime_config.FallingLock = HRTIM_TIMDEADTIME_FALLINGLOCK_WRITE;
	deadtime_config.FallingSignLock = HRTIM_TIMDEADTIME_FALLINGSIGNLOCK_WRITE;
	HAL_HRTIM_DeadTimeConfig(&hhrtim1, HRTIM_TIMERINDEX_TIMER_A, &deadtime_config);

	/* TA1 waveform description */
	output_config_TAx.Polarity = HRTIM_OUTPUTPOLARITY_HIGH;
	output_config_TAx.SetSource = HRTIM_OUTPUTSET_TIMPER;
	output_config_TAx.ResetSource  = HRTIM_OUTPUTRESET_TIMCMP1;
	output_config_TAx.IdleMode = HRTIM_OUTPUTIDLEMODE_NONE;
	output_config_TAx.IdleLevel = HRTIM_OUTPUTIDLELEVEL_INACTIVE;
	output_config_TAx.FaultLevel = HRTIM_OUTPUTFAULTLEVEL_NONE;
	output_config_TAx.ChopperModeEnable = HRTIM_OUTPUTCHOPPERMODE_DISABLED;
	output_config_TAx.BurstModeEntryDelayed = HRTIM_OUTPUTBURSTMODEENTRY_REGULAR;
	HAL_HRTIM_WaveformOutputConfig(&hhrtim1, HRTIM_TIMERINDEX_TIMER_A, HRTIM_OUTPUT_TA1, &output_config_TAx);

	/* TA2 waveform description */
	output_config_TAx.SetSource = HRTIM_OUTPUTSET_NONE;
	output_config_TAx.ResetSource  = HRTIM_OUTPUTRESET_NONE;
	HAL_HRTIM_WaveformOutputConfig(&hhrtim1, HRTIM_TIMERINDEX_TIMER_A, HRTIM_OUTPUT_TA2, &output_config_TAx);

	/* TIMERA Duty Cycles */
	compare_config.CompareValue = _OPERATING_FREQ/2;
	HAL_HRTIM_WaveformCompareConfig(&hhrtim1, HRTIM_TIMERINDEX_TIMER_A, HRTIM_COMPAREUNIT_1, &compare_config);

	compare_config.AutoDelayedMode = HRTIM_AUTODELAYEDMODE_REGULAR;
	compare_config.AutoDelayedTimeout = 0;
	compare_config.CompareValue = _OPERATING_FREQ/2;
	HAL_HRTIM_WaveformCompareConfig(&hhrtim1, HRTIM_TIMERINDEX_TIMER_A, HRTIM_COMPAREUNIT_2, &compare_config);

	/* TIMERD init */
	timebase_config.Period = _OPERATING_FREQ;
	timebase_config.RepetitionCounter = 0;
	timebase_config.PrescalerRatio = HRTIM_PRESCALERRATIO_MUL32;
	timebase_config.Mode = HRTIM_MODE_CONTINUOUS;
	HAL_HRTIM_TimeBaseConfig(&hhrtim1, HRTIM_TIMERINDEX_TIMER_B, &timebase_config);

	timer_config.DMARequests = HRTIM_TIM_DMA_NONE;
	timer_config.HalfModeEnable = HRTIM_HALFMODE_DISABLED;
	timer_config.StartOnSync = HRTIM_SYNCSTART_DISABLED;
	timer_config.ResetOnSync = HRTIM_SYNCRESET_DISABLED;
	timer_config.DACSynchro = HRTIM_DACSYNC_NONE;
	timer_config.PreloadEnable = HRTIM_PRELOAD_ENABLED;
	timer_config.UpdateGating = HRTIM_UPDATEGATING_INDEPENDENT;
	timer_config.BurstMode = HRTIM_TIMERBURSTMODE_MAINTAINCLOCK;
	timer_config.RepetitionUpdate = HRTIM_UPDATEONREPETITION_ENABLED;
	timer_config.ResetUpdate = HRTIM_TIMUPDATEONRESET_DISABLED;
	timer_config.InterruptRequests = HRTIM_TIM_IT_NONE;
	timer_config.PushPull = HRTIM_TIMPUSHPULLMODE_DISABLED;
	timer_config.FaultEnable = HRTIM_TIMFAULTENABLE_NONE;
	timer_config.FaultLock = HRTIM_TIMFAULTLOCK_READWRITE;
	timer_config.DeadTimeInsertion = HRTIM_TIMDEADTIMEINSERTION_DISABLED;
	timer_config.DelayedProtectionMode = HRTIM_TIMER_A_B_C_DELAYEDPROTECTION_DISABLED;
	timer_config.UpdateTrigger= HRTIM_TIMUPDATETRIGGER_NONE;
	timer_config.ResetTrigger = HRTIM_TIMRESETTRIGGER_NONE;
	HAL_HRTIM_WaveformTimerConfig(&hhrtim1, HRTIM_TIMERINDEX_TIMER_B,&timer_config);

	deadtime_config.Prescaler = HRTIM_TIMDEADTIME_PRESCALERRATIO_MUL8;
	deadtime_config.RisingValue = 0x000;
	deadtime_config.RisingSign = HRTIM_TIMDEADTIME_RISINGSIGN_POSITIVE;
	deadtime_config.RisingLock = HRTIM_TIMDEADTIME_RISINGLOCK_WRITE;
	deadtime_config.RisingSignLock = HRTIM_TIMDEADTIME_RISINGSIGNLOCK_WRITE;
	deadtime_config.FallingValue = 0x000;
	deadtime_config.FallingSign = HRTIM_TIMDEADTIME_FALLINGSIGN_POSITIVE;
	deadtime_config.FallingLock = HRTIM_TIMDEADTIME_FALLINGLOCK_WRITE;
	deadtime_config.FallingSignLock = HRTIM_TIMDEADTIME_FALLINGSIGNLOCK_WRITE;
	HAL_HRTIM_DeadTimeConfig(&hhrtim1, HRTIM_TIMERINDEX_TIMER_B, &deadtime_config);

	/* TD1 waveform description */
	output_config_TBx.Polarity = HRTIM_OUTPUTPOLARITY_HIGH;
	output_config_TBx.SetSource = HRTIM_OUTPUTSET_TIMPER;
	output_config_TBx.ResetSource  = HRTIM_OUTPUTRESET_TIMCMP1;
	output_config_TBx.IdleMode = HRTIM_OUTPUTIDLEMODE_NONE;
	output_config_TBx.IdleLevel = HRTIM_OUTPUTIDLELEVEL_INACTIVE;
	output_config_TBx.FaultLevel = HRTIM_OUTPUTFAULTLEVEL_NONE;
	output_config_TBx.ChopperModeEnable = HRTIM_OUTPUTCHOPPERMODE_DISABLED;
	output_config_TBx.BurstModeEntryDelayed = HRTIM_OUTPUTBURSTMODEENTRY_REGULAR;
	HAL_HRTIM_WaveformOutputConfig(&hhrtim1, HRTIM_TIMERINDEX_TIMER_B, HRTIM_OUTPUT_TB1, &output_config_TBx);

	/* TD2 waveform description */
	output_config_TBx.SetSource = HRTIM_OUTPUTSET_TIMCMP2;     //HRTIM_OUTPUTSET_NONE;
	output_config_TBx.ResetSource  = HRTIM_OUTPUTRESET_TIMPER; //HRTIM_OUTPUTRESET_NONE;
	HAL_HRTIM_WaveformOutputConfig(&hhrtim1, HRTIM_TIMERINDEX_TIMER_B, HRTIM_OUTPUT_TB2, &output_config_TBx);
}

/* USER CODE END 4 */

void Error_Handler(void)
{
  __disable_irq();
  while (1)
  {
  }
}
